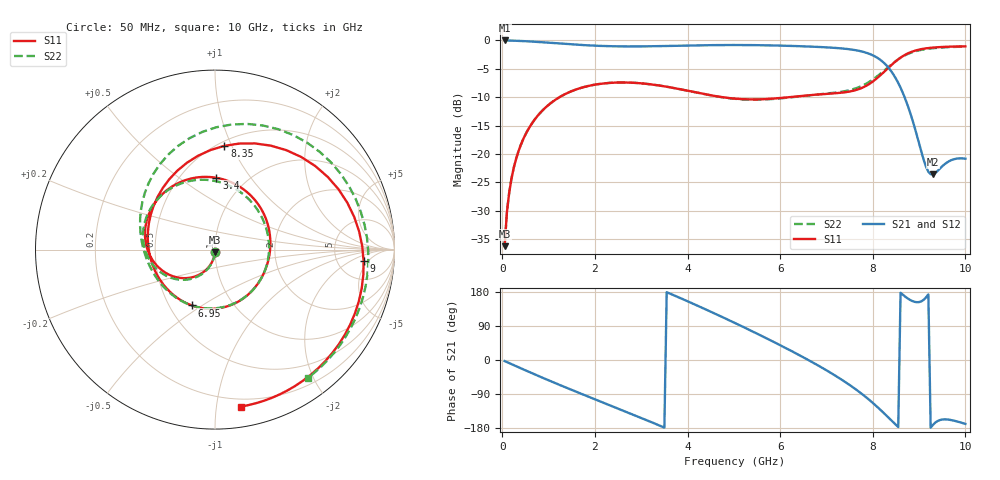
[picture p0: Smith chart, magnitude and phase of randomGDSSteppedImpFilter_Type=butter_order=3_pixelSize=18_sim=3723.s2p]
! freq	dB(S11)	phase(S11)	dB(S12)	phase(S12)
!  dB(S21)	phase(S21)	dB(S22)	phase(S22)
!S-par simulation data
#  GHz  S  DB  R 50
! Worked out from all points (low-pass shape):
!   200 points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, 50 MHz to 10 GHz, reference 50 ohm
!   highest |S21| = 0.00 dB at 50 MHz (marker M1); lowest = -23.6 dB at 9.3 GHz (marker M2)
!   |S21| within 3 dB of the highest: start of sweep to 8.087 GHz
!   lowest |S11| = -36.3 dB at 50 MHz (marker M3), VSWR 1.03, Z = 49.9 - j1.53 ohm
!   |S11| at or under -10 dB: start of sweep to 1.235 GHz; 4.753 GHz to 6.191 GHz (1.438 GHz wide, 26.3 % of centre)
!   |S22| runs from -36.3 to -1.1 dB; largest |S21 - S12| = 0
!   S11 on the Smith chart (normalised r, x): 50 MHz: 1.00, -0.03; 3.4 GHz: 0.73, +0.70; 6.95 GHz: 0.65, -0.45; 8.35 GHz: 0.54, +0.94; 9 GHz: 9.25, -3.74; 10 GHz: 0.14, -1.17
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0.05  -36.26 -92.7  -0.00 -2.8  -0.00 -2.8  -36.26 -92.6
0.1  -30.25 -95.7  -0.01 -5.5  -0.01 -5.5  -30.25 -95.4
0.2  -24.27 -101.6  -0.03 -11.0  -0.03 -11.0  -24.27 -100.9
0.5  -16.59 -118.7  -0.13 -27.2  -0.13 -27.2  -16.58 -116.9
1.1  -10.72 -151.3  -0.46 -58.8  -0.46 -58.8  -10.72 -147.4
1.75  -8.24 174.7  -0.82 -91.3  -0.82 -91.3  -8.24 -178.7
2.5  -7.42 136.3  -1.04 -128.0  -1.04 -128.0  -7.42 146.4
3.4  -7.96 88.9  -1.00 -173.2  -1.00 -173.2  -7.96 103.9
4.2  -9.19 44.9  -0.87 144.2  -0.87 144.2  -9.20 63.3
5.05  -10.28 -1.5  -0.81 96.2  -0.81 96.2  -10.31 14.7
5.8  -10.28 -41.6  -0.87 51.5  -0.87 51.5  -10.35 -33.7
6.25  -9.95 -67.0  -0.97 23.4  -0.97 23.4  -10.02 -64.5
6.7  -9.60 -95.0  -1.10 -6.2  -1.10 -6.2  -9.63 -96.3
6.95  -9.45 -112.6  -1.20 -23.6  -1.20 -23.6  -9.43 -114.5
7.35  -9.19 -145.8  -1.42 -53.6  -1.42 -53.6  -9.01 -145.0
7.7  -8.58 177.1  -1.83 -83.4  -1.83 -83.4  -8.24 -174.1
8.05  -6.94 130.3  -2.83 -118.5  -2.83 -118.5  -6.60 151.9
8.35  -4.72 84.8  -4.91 -153.3  -4.91 -153.3  -4.58 116.1
8.65  -2.77 39.8  -9.26 172.2  -9.26 172.2  -2.82 75.6
9  -1.62 -4.3  -18.14 152.9  -18.14 152.9  -1.75 31.1
9.3  -1.26 -33.3  -23.62 -171.1  -23.62 -171.1  -1.38 -0.4
10  -1.05 -80.7  -20.85 -168.5  -20.85 -168.5  -1.09 -54.0
